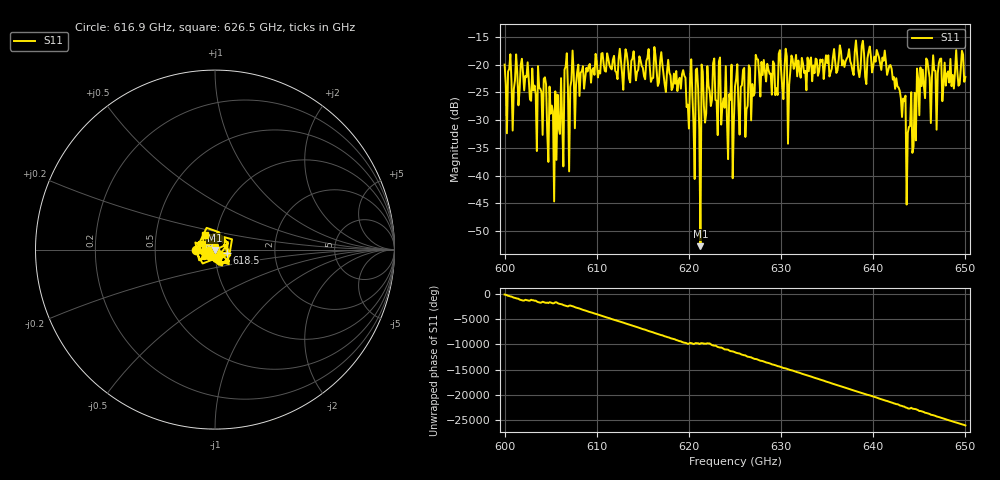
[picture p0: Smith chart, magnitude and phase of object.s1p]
!Created with skrf (http://scikit-rf.org).
# GHz S MA R 50.0
!freq magS11 angS11
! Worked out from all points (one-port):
!   401 points, 600 GHz to 650 GHz, reference 50 ohm
!   lowest |S11| = -52.7 dB at 621.2 GHz (marker M1), VSWR 1.00, Z = 50 - j0.23 ohm
!   |S11| at or under -10 dB: start of sweep to end of sweep
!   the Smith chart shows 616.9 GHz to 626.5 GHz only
!   S11 on the Smith chart (normalised r, x): 616.9 GHz: 0.81, -0.01; 618.5 GHz: 1.14, -0.04; 626.5 GHz: 0.88, +0.15
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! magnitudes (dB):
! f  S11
! 600 GHz  -20.0
! 602 GHz  -21.5
! 603.2 GHz  -23.8
! 604.2 GHz  -22.5
! 605.4 GHz  -44.7
! 606.2 GHz  -30.0
! 606.6 GHz  -20.3
! 608.2 GHz  -21.4
! 612.5 GHz  -17.1
! 616.9 GHz  -19.4
! 618.5 GHz  -23.4
! 618.8 GHz  -24.7
! 621.2 GHz  -52.7
! 621.6 GHz  -27.4
! 622.5 GHz  -26.4
! 624.5 GHz  -26.3
! 625 GHz  -23.9
! 625.1 GHz  -22.5
! 626.5 GHz  -20.1
! 627.4 GHz  -19.0
! 631 GHz  -21.2
! 631.2 GHz  -19.0
! 637.5 GHz  -19.3
! 641.2 GHz  -17.4
! 643.2 GHz  -26.1
! 643.8 GHz  -32.3
! 645.6 GHz  -26.0
! 650 GHz  -22.2
